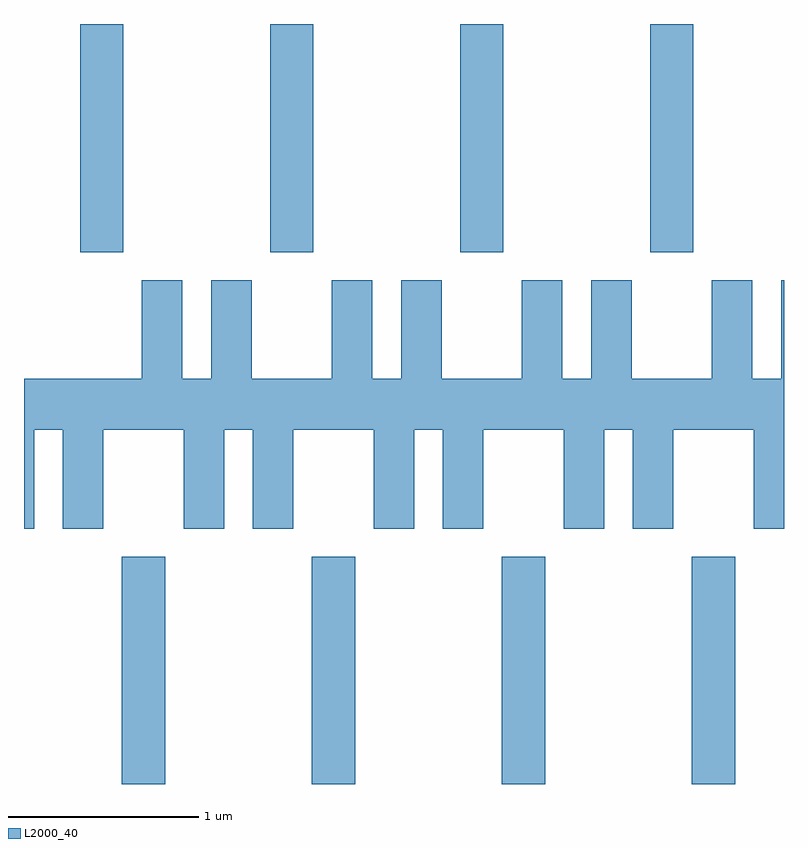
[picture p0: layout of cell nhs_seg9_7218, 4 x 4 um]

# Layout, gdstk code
import gdstk
lib = gdstk.Library(unit=1e-6, precision=1e-09)
def R(c, l, rs):  # rectangles x0, y0, x1, y1
    for r in rs: c.add(gdstk.rectangle(r[:2], r[2:], *l))
def A(c, l, x, y, w, h, nx, ny, dx, dy):  # array of equal rectangles
    R(c, l, [(x+i*dx, y+j*dy, x+i*dx+w, y+j*dy+h) for i in range(nx) for j in range(ny)])
def P(c, l, *ps):  # polygons
    for p in ps: c.add(gdstk.Polygon(p, *l))
L2000_40 = (2000, 40)

nhs_seg9_7218 = lib.new_cell('nhs_seg9_7218')
A(nhs_seg9_7218, L2000_40, 400.126, 1954.432, 0.228, 1.197, 4, 1, 1, 0)
A(nhs_seg9_7218, L2000_40, 399.906, 1957.231, 0.228, 1.201, 4, 1, 1, 0)
P(nhs_seg9_7218, L2000_40, [(401.809,1957.084),(401.596,1957.084),(401.596,1956.564),(401.444,1956.564),(401.444,1957.084),(401.231,1957.084),(401.231,1956.564),(400.809,1956.564),(400.809,1957.084),(400.596,1957.084),(400.596,1956.564),(400.444,1956.564),(400.444,1957.084),(400.231,1957.084),(400.231,1956.564),(399.611,1956.564),(399.611,1955.776),(399.664,1955.776),(399.664,1956.296),(399.816,1956.296),(399.816,1955.776),(400.029,1955.776),(400.029,1956.296),(400.451,1956.296),(400.451,1955.776),(400.664,1955.776),(400.664,1956.296),(400.816,1956.296),(400.816,1955.776),(401.029,1955.776),(401.029,1956.296),(401.451,1956.296),(401.451,1955.776),(401.664,1955.776),(401.664,1956.296),(401.816,1956.296),(401.816,1955.776),(402.029,1955.776),(402.029,1956.296),(402.451,1956.296),(402.451,1955.776),(402.664,1955.776),(402.664,1956.296),(402.816,1956.296),(402.816,1955.776),(403.029,1955.776),(403.029,1956.296),(403.451,1956.296),(403.451,1955.776),(403.611,1955.776),(403.611,1957.084),(403.596,1957.084),(403.596,1956.564),(403.444,1956.564),(403.444,1957.084),(403.231,1957.084),(403.231,1956.564),(402.809,1956.564),(402.809,1957.084),(402.596,1957.084),(402.596,1956.564),(402.444,1956.564),(402.444,1957.084),(402.231,1957.084),(402.231,1956.564),(401.809,1956.564)])

lib.write_gds('nhs_seg9_7218.gds')
